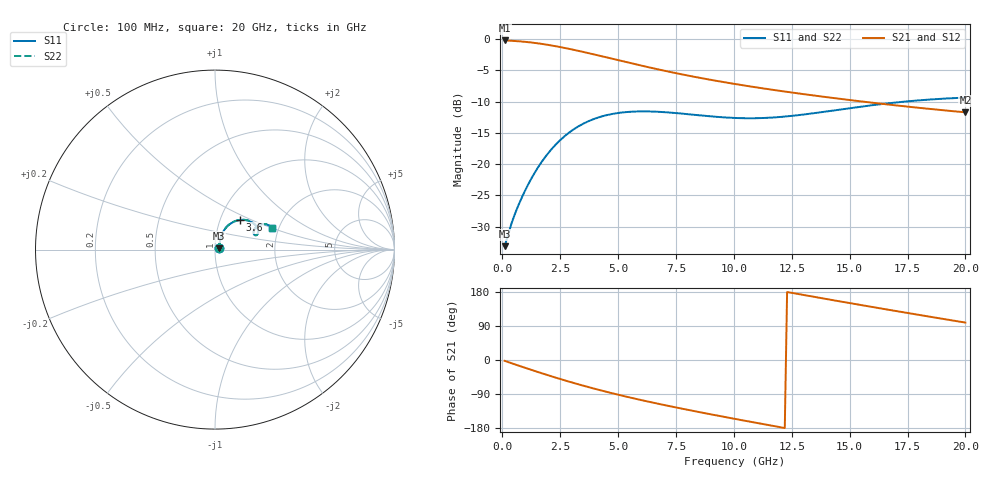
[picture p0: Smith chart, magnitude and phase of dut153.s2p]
! Touchstone file exported from HFSS 2024.1.0
!  File:  C:/UserFiles/LocalFiles/RDL_TSV_Batchsim/temp_RDL_TSV_153_1779432336.aedt
!  Generated:  03:02:52 PM May 22, 2026
!  Design:  RDL_TSV
!  Project:  temp_RDL_TSV_153_1779432336
!  Setup:  Setup1
!  Solution:  Sweep
! Variables:
!  dtsv = 5.57um
!  hbump = 3um
!  htsv = 91.1um
!  ldown = 471.72um
!  lrdl = 584.59um
!  p = 40
!  p1 = 56.28um
!  rhole = 10um
!  subl = 3753.52um
!  t = 450um
!  tdown = 3.26um
!  trdl = 2.71um
!  viad = 10um
!  wdown = 18.5um
!  wrdl = 29.38um
!  xbump = 18um
# GHz S MA R 50.000000
! Terminal data exported
! Port[1] = TM1_1_T1
! Port[2] = TM1_4_T1
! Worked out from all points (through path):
!   200 points, 100 MHz to 20 GHz, reference 50 ohm
!   highest |S21| = -0.19 dB at 100 MHz (marker M1); lowest = -11.7 dB at 20 GHz (marker M2)
!   group delay of S21, straight-line fit = 34.5 ps
!   lowest |S11| = -33.2 dB at 100 MHz (marker M3), VSWR 1.04, Z = 52.1 + j0.682 ohm
!   |S11| at or under -10 dB: start of sweep to 17.34 GHz
!   |S22| runs from -33.2 to -9.3 dB; largest |S21 - S12| = 1e-14
!   S11 on the Smith chart (normalised r, x): 100 MHz: 1.04, +0.01; 3.6 GHz: 1.24, +0.43; 20 GHz: 1.84, +0.51
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0.1  0.022 17.3  0.9788 -2.2  0.9788 -2.2  0.022 17.3
! Gamma 0 0 0 0
! Port Impedance 50 0 50 0
0.4  0.03354 43.9  0.973 -8.6  0.973 -8.6  0.03352 43.9
0.7  0.04695 55.4  0.9646 -14.8  0.9646 -14.8  0.04693 55.5
1.1  0.06774 63.0  0.9497 -22.9  0.9497 -22.9  0.06774 63.1
1.5  0.09147 65.5  0.9303 -31.0  0.9303 -31.0  0.09152 65.6
2  0.1235 64.5  0.9006 -40.7  0.9006 -40.7  0.1236 64.7
2.5  0.1556 61.1  0.8666 -50.1  0.8666 -50.1  0.1559 61.2
3  0.1853 56.3  0.8299 -59.2  0.8299 -59.2  0.1857 56.4
3.5  0.2109 51.0  0.7919 -67.8  0.7919 -67.8  0.2115 51.1
3.6  0.2154 49.9  0.7843 -69.5  0.7843 -69.5  0.216 50.1
4.3  0.2411 42.5  0.7313 -80.9  0.7313 -80.9  0.2419 42.7
5.2  0.2595 34.1  0.6671 -94.5  0.6671 -94.5  0.2604 34.3
6  0.2645 28.1  0.6157 -105.8  0.6157 -105.8  0.2656 28.3
6.8  0.2621 23.6  0.5703 -116.4  0.5703 -116.4  0.2633 23.8
8.3  0.2482 19.4  0.5003 -135.0  0.5003 -135.0  0.2495 19.5
10.1  0.2341 20.7  0.4367 -156.0  0.4367 -156.0  0.2353 20.8
11.7  0.2363 24.8  0.3931 -174.0  0.3931 -174.0  0.2375 24.9
13.4  0.2549 28.3  0.3556 167.4  0.3556 167.4  0.2561 28.4
15  0.2805 29.0  0.3262 150.2  0.3262 150.2  0.2817 29.1
16.7  0.3074 27.4  0.2997 132.4  0.2997 132.4  0.3088 27.5
18.3  0.3275 24.5  0.2786 115.9  0.2786 115.9  0.3289 24.6
20  0.3409 20.9  0.26 98.8  0.26 98.8  0.3425 21.1
